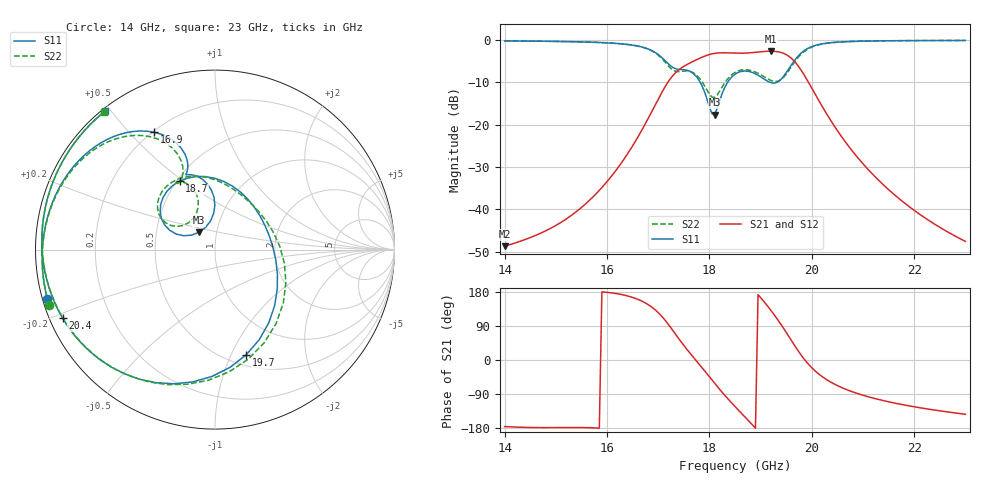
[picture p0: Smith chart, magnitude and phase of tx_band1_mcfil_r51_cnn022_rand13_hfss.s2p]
! Touchstone file exported from HFSS 3D Layout Design 2026.1.0
!  File:  D:/Work/SIM/ADS_AUTO_SIM/projects/RFSOC_RF/TX_Fillter.aedt
!  Generated:  05:12:55 AM Aug 31, 2026
!  Design:  TX_BAND1_MCFIL_R51_CNN022
!  Project:  TX_Fillter
# GHz S MA R 50.000000
! Terminal data exported
! Port[1] = Port1
! Port[2] = Port2
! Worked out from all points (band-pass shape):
!   181 points, 14 GHz to 23 GHz, reference 50 ohm
!   highest |S21| = -2.67 dB at 19.2 GHz (marker M1); lowest = -48.7 dB at 14 GHz (marker M2)
!   |S21| within 3 dB of the highest: 17.58 GHz to 19.7 GHz (2.12 GHz wide, 11.4 % of centre)
!   lowest |S11| = -17.6 dB at 18.1 GHz (marker M3), VSWR 1.30, Z = 41.1 + j8.02 ohm
!   |S11| at or under -10 dB: 17.82 GHz to 18.36 GHz (537.5 MHz wide, 2.97 % of centre); 19.18 GHz to 19.32 GHz (135.9 MHz wide, 0.706 % of centre)
!   |S22| runs from -13.6 to -0.1 dB; largest |S21 - S12| = 1.4e-14
!   S11 on the Smith chart (normalised r, x): 14 GHz: 0.01, -0.14; 16.9 GHz: 0.21, +0.59; 18.7 GHz: 0.52, +0.48; 19.7 GHz: 0.61, -1.14; 20.4 GHz: 0.04, -0.21; 23 GHz: 0.01, +0.48
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14  0.9736 -163.5  0.003682 -175.7  0.003682 -175.7  0.9743 -161.7
15.5  0.9469 166.6  0.01052 -178.3  0.01052 -178.3  0.9481 168.8
16.3  0.8967 143.8  0.0367 172.4  0.0367 172.4  0.8975 146.4
16.9  0.7355 117.3  0.1529 137.0  0.1529 137.0  0.7276 120.1
17  0.6728 112.3  0.1999 125.1  0.1999 125.1  0.6598 115.1
17.2  0.5209 107.3  0.3237 93.7  0.3237 93.7  0.4926 111.3
17.45  0.4468 111.2  0.466 47.4  0.466 47.4  0.4252 121.0
17.8  0.3323 93.5  0.6043 -11.1  0.6043 -11.1  0.3554 109.6
18.1  0.1313 133.0  0.6935 -60.9  0.6935 -60.9  0.2096 134.5
18.3  0.2745 156.9  0.7048 -93.1  0.7048 -93.1  0.3115 151.5
18.5  0.3938 140.2  0.6973 -122.8  0.6973 -122.8  0.4135 140.6
18.7  0.4294 117.3  0.6983 -151.0  0.6983 -151.0  0.4455 122.7
18.95  0.3832 82.9  0.7192 172.5  0.7192 172.5  0.4036 95.9
19.2  0.313 36.6  0.7356 131.2  0.7356 131.2  0.3328 60.1
19.45  0.373 -21.2  0.6936 83.4  0.6936 83.4  0.3623 2.4
19.7  0.6115 -73.5  0.5245 30.9  0.5245 30.9  0.5871 -62.2
19.85  0.7469 -99.4  0.3864 2.6  0.3864 2.6  0.7282 -92.8
20  0.8353 -120.1  0.2695 -20.5  0.2695 -20.5  0.8231 -116.3
20.4  0.9311 -155.8  0.105 -60.6  0.105 -60.6  0.9281 -154.9
20.85  0.9622 -178.8  0.04418 -86.6  0.04418 -86.6  0.9619 -178.9
21.5  0.9772 159.9  0.01711 -110.3  0.01711 -110.3  0.9776 159.6
23  0.9848 128.6  0.004191 -143.2  0.004191 -143.2  0.9853 128.7
